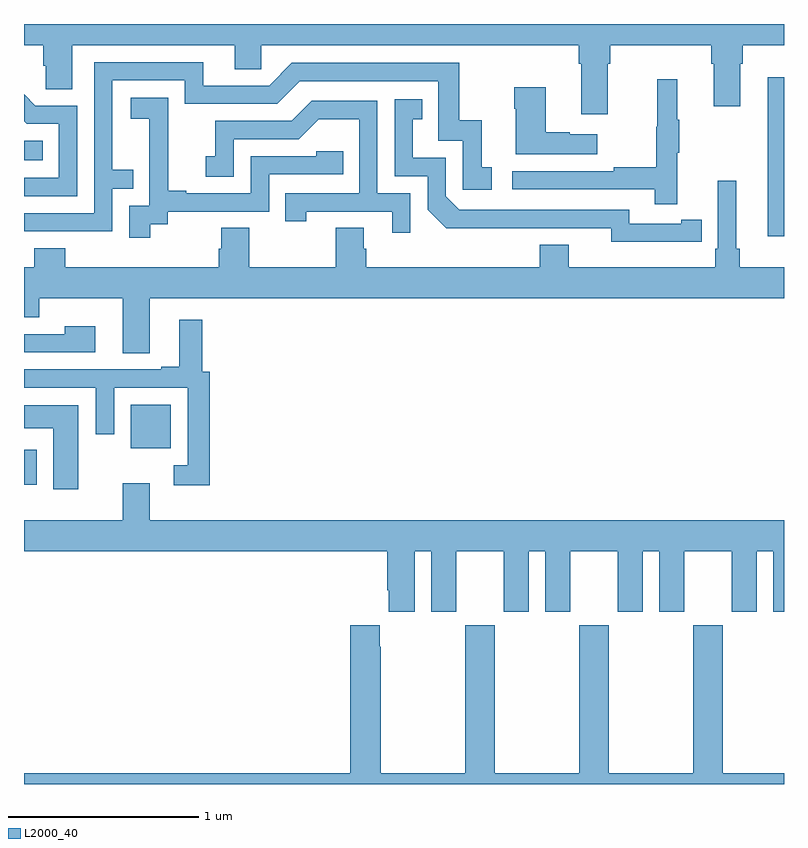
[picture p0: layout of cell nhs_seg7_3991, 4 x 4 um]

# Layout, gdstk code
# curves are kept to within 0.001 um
import gdstk
lib = gdstk.Library(unit=1e-6, precision=1e-09)
def R(c, l, rs):  # rectangles x0, y0, x1, y1
    for r in rs: c.add(gdstk.rectangle(r[:2], r[2:], *l))
def P(c, l, *ps):  # polygons
    for p in ps: c.add(gdstk.Polygon(p, *l))
L2000_40 = (2000, 40)

nhs_seg7_3991 = lib.new_cell('nhs_seg7_3991')
R(nhs_seg7_3991, L2000_40, [(363,1059.576,363.066,1059.759), (363.563,1059.767,363.772,1059.997), (366.914,1060.884,367,1061.719), (363,1061.282,363.098,1061.386)])
P(nhs_seg7_3991, L2000_40, [(363,1061.888),(363.101,1061.888),(363.101,1061.779),(363.114,1061.779),(363.114,1061.656),(363.253,1061.656),(363.253,1061.888),(364.109,1061.888),(364.109,1061.761),(364.248,1061.761),(364.248,1061.888),(365.921,1061.888),(365.921,1061.792),(365.933,1061.792),(365.933,1061.526),(366.073,1061.526),(366.073,1061.792),(366.086,1061.792),(366.086,1061.888),(366.617,1061.888),(366.617,1061.792),(366.629,1061.792),(366.629,1061.568),(366.769,1061.568),(366.769,1061.792),(366.782,1061.792),(366.782,1061.888),(367,1061.888),(367,1062),(363,1062)],
  [(363.465,1061.133),(363.575,1061.133),(363.575,1061.234),(363.465,1061.234),(363.465,1061.703),(363.846,1061.703),(363.846,1061.58),(364.332,1061.58),(364.452,1061.7),(365.181,1061.7),(365.181,1061.385),(365.31,1061.385),(365.31,1061.127),(365.461,1061.127),(365.461,1061.247),(365.408,1061.247),(365.408,1061.494),(365.29,1061.494),(365.29,1061.796),(364.41,1061.796),(364.29,1061.676),(363.943,1061.676),(363.943,1061.799),(363.369,1061.799),(363.369,1061.004),(363,1061.004),(363,1060.908),(363.465,1060.908)],
  [(366.437,1061.323),(366.448,1061.323),(366.448,1061.497),(366.437,1061.497),(366.437,1061.71),(366.334,1061.71),(366.334,1061.46),(366.327,1061.46),(366.327,1061.246),(366.103,1061.246),(366.103,1061.226),(365.571,1061.226),(365.571,1061.13),(366.319,1061.13),(366.319,1061.052),(366.437,1061.052)],
  [(366.016,1061.419),(365.873,1061.419),(365.873,1061.429),(365.746,1061.429),(365.746,1061.668),(365.581,1061.668),(365.581,1061.555),(365.588,1061.555),(365.588,1061.315),(366.016,1061.315)],
  [(363.279,1061.571),(363.06,1061.571),(363,1061.631),(363,1061.489),(363.014,1061.475),(363.183,1061.475),(363.183,1061.19),(363,1061.19),(363,1061.094),(363.279,1061.094)],
  [(363.664,1060.945),(363.756,1060.945),(363.756,1061.013),(364.29,1061.013),(364.29,1061.208),(364.679,1061.208),(364.679,1061.331),(364.539,1061.331),(364.539,1061.304),(364.194,1061.304),(364.194,1061.109),(363.853,1061.109),(363.853,1061.122),(363.758,1061.122),(363.758,1061.405),(363.759,1061.405),(363.759,1061.611),(363.561,1061.611),(363.561,1061.501),(363.659,1061.501),(363.659,1061.273),(363.66,1061.273),(363.66,1061.043),(363.555,1061.043),(363.555,1060.875),(363.664,1060.875)],
  [(366.458,1060.854),(366.566,1060.854),(366.566,1060.97),(366.458,1060.97),(366.458,1060.95),(366.186,1060.95),(366.186,1061.022),(365.292,1061.022),(365.22,1061.094),(365.22,1061.295),(365.047,1061.295),(365.047,1061.499),(365.096,1061.499),(365.096,1061.605),(364.95,1061.605),(364.95,1061.199),(365.124,1061.199),(365.124,1061.022),(365.222,1060.925),(366.09,1060.926),(366.09,1060.853)],
  [(365.034,1061.109),(364.86,1061.109),(364.86,1061.595),(364.514,1061.595),(364.409,1061.49),(364.006,1061.49),(364.006,1061.305),(363.957,1061.305),(363.957,1061.196),(364.104,1061.196),(364.104,1061.394),(364.446,1061.394),(364.55,1061.498),(364.764,1061.498),(364.764,1061.109),(364.375,1061.109),(364.375,1060.962),(364.486,1060.962),(364.486,1061.013),(364.937,1061.013),(364.937,1060.902),(365.034,1060.902)],
  [(363.661,1060.556),(367,1060.556),(367,1060.72),(366.767,1060.72),(366.767,1060.816),(366.748,1060.816),(366.748,1061.176),(366.651,1061.176),(366.651,1060.816),(366.638,1060.816),(366.638,1060.72),(365.866,1060.72),(365.866,1060.837),(365.714,1060.837),(365.714,1060.72),(364.802,1060.72),(364.802,1060.818),(364.789,1060.818),(364.789,1060.928),(364.642,1060.928),(364.642,1060.72),(364.185,1060.72),(364.185,1060.928),(364.037,1060.928),(364.037,1060.818),(364.025,1060.818),(364.025,1060.72),(363.218,1060.72),(363.218,1060.819),(363.053,1060.819),(363.053,1060.72),(363,1060.72),(363,1060.457),(363.081,1060.457),(363.081,1060.556),(363.521,1060.556),(363.521,1060.267),(363.661,1060.267)],
  [(363.977,1060.17),(363.937,1060.17),(363.937,1060.444),(363.818,1060.444),(363.818,1060.197),(363.722,1060.197),(363.722,1060.182),(363,1060.182),(363,1060.086),(363.378,1060.086),(363.378,1059.84),(363.474,1059.84),(363.474,1060.086),(363.861,1060.086),(363.861,1059.678),(363.789,1059.678),(363.789,1059.573),(363.977,1059.573)],
  [(363.376,1060.408),(363.215,1060.408),(363.215,1060.368),(363,1060.368),(363,1060.272),(363.376,1060.272)],
  [(363.286,1059.994),(363,1059.994),(363,1059.872),(363.155,1059.872),(363.155,1059.552),(363.286,1059.552)],
  [(365.056,1059.224),(365.144,1059.224),(365.144,1058.907),(365.275,1058.907),(365.275,1059.224),(365.525,1059.224),(365.525,1058.907),(365.656,1058.907),(365.656,1059.224),(365.744,1059.224),(365.744,1058.907),(365.875,1058.907),(365.875,1059.224),(366.125,1059.224),(366.125,1058.907),(366.256,1058.907),(366.256,1059.224),(366.344,1059.224),(366.344,1058.907),(366.475,1058.907),(366.475,1059.224),(366.725,1059.224),(366.725,1058.907),(366.856,1058.907),(366.856,1059.224),(366.944,1059.224),(366.944,1058.907),(367,1058.907),(367,1059.388),(363.661,1059.388),(363.661,1059.583),(363.521,1059.583),(363.521,1059.388),(363,1059.388),(363,1059.224),(364.913,1059.224),(364.913,1059.019),(364.919,1059.019),(364.919,1058.907),(365.056,1058.907)],
  [(367,1058.056),(366.678,1058.056),(366.678,1058.836),(366.523,1058.836),(366.523,1058.056),(366.078,1058.056),(366.078,1058.836),(365.923,1058.836),(365.923,1058.056),(365.478,1058.056),(365.478,1058.836),(365.323,1058.836),(365.323,1058.056),(364.878,1058.056),(364.878,1058.723),(364.873,1058.723),(364.873,1058.836),(364.718,1058.836),(364.718,1058.056),(363,1058.056),(363,1058),(367,1058)])

lib.write_gds('nhs_seg7_3991.gds')
